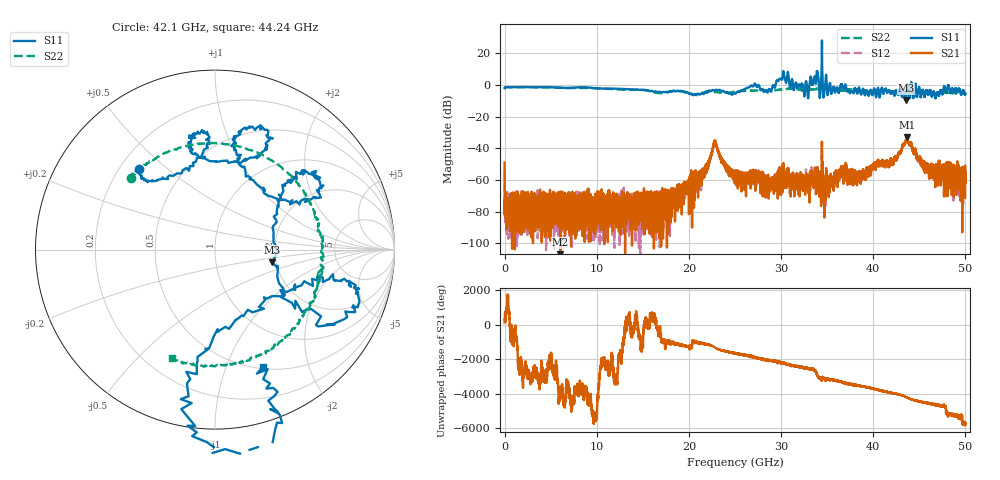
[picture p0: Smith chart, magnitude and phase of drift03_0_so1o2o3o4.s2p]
!Created with skrf (http://scikit-rf.org).
# Hz S RI R 50.0
!freq ReS11 ImS11 ReS21 ImS21 ReS12 ImS12 ReS22 ImS22
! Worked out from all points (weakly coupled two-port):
!   10001 points, 300 kHz to 50 GHz, reference 50 ohm
!   highest |S21| = -33.21 dB at 43.65 GHz (marker M1); lowest = -111.7 dB at 6.05 GHz (marker M2)
!   lowest |S11| = -9.8 dB at 43.56 GHz (marker M3), VSWR 1.96, Z = 94.7 - j14.9 ohm
!   |S11| at or under -10 dB: nowhere
!   |S22| runs from -6.0 to -1.3 dB; largest |S21 - S12| = 0.01
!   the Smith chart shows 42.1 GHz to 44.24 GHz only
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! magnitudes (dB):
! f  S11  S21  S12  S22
! 300 kHz  -2.0  -49.1  -54.3  -2.1
! 255.3 MHz  -1.4  -81.0  -88.8  -1.4
! 425.3 MHz  -1.4  -75.3  -86.2  -1.5
! 6.05 GHz  -1.8  -111.7  -82.3  -1.8
! 8.335 GHz  -1.5  -82.8  -80.8  -1.9
! 16.67 GHz  -4.4  -71.9  -81.7  -5.2
! 20.95 GHz  -5.8  -56.0  -60.7  -5.6
! 22.82 GHz  -3.5  -35.4  -35.4  -4.4
! 25 GHz  -5.6  -55.0  -56.6  -4.3
! 27.02 GHz  -0.5  -59.1  -54.2  -3.6
! 28.72 GHz  -2.5  -60.4  -63.6  -3.6
! 30.14 GHz  4.1  -57.8  -56.7  -2.8
! 32.74 GHz  2.1  -59.0  -59.1  -3.3
! 33.34 GHz  1.5  -59.2  -59.0  -2.9
! 34.86 GHz  4.5  -60.2  -63.3  -2.4
! 36.47 GHz  -0.5  -55.8  -55.4  -3.8
! 38.44 GHz  -1.6  -55.8  -54.8  -3.1
! 41.67 GHz  -3.8  -49.4  -51.1  -3.7
! 43.56 GHz  -9.8  -34.9  -35.0  -4.2
! 43.65 GHz  -2.9  -33.2  -33.7  -4.1
! 45.86 GHz  -4.3  -53.7  -51.0  -5.3
! 50 GHz  -5.4  -54.7  -57.2  -5.0
